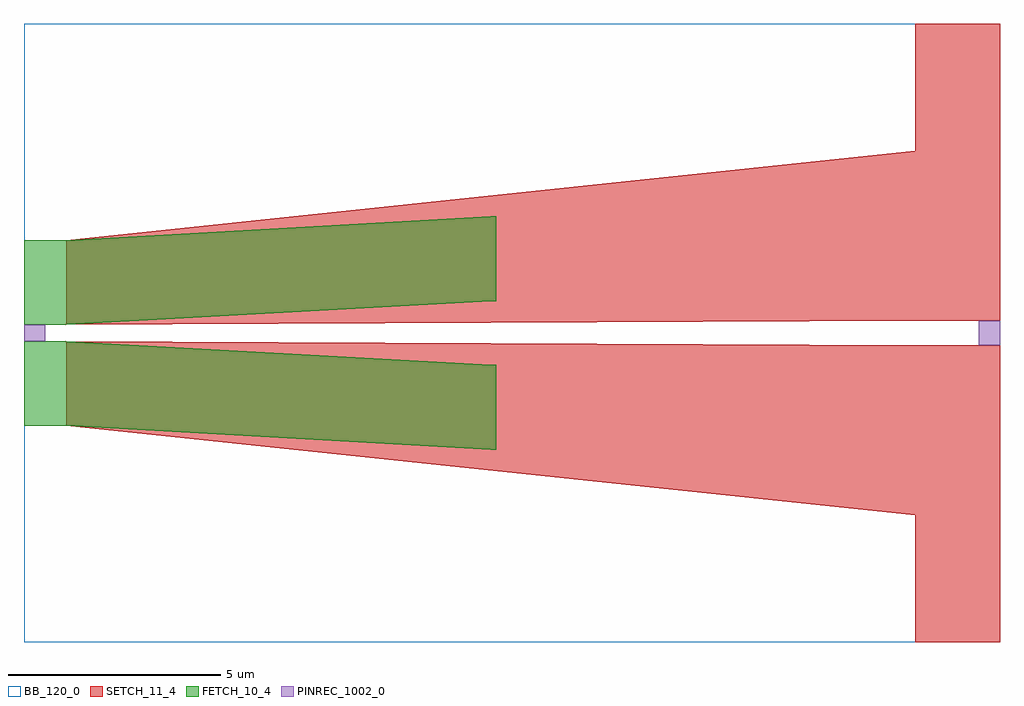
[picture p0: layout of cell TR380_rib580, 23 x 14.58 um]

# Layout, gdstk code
import gdstk
lib = gdstk.Library(unit=1e-6, precision=1e-09)
def R(c, l, rs):  # rectangles x0, y0, x1, y1
    for r in rs: c.add(gdstk.rectangle(r[:2], r[2:], *l))
def P(c, l, *ps):  # polygons
    for p in ps: c.add(gdstk.Polygon(p, *l))
FETCH_10_4 = (10, 4)
SETCH_11_4 = (11, 4)
BB_120_0 = (120, 0)
PINREC_1002_0 = (1002, 0)

tr380_rib580 = lib.new_cell('TR380_rib580')
R(tr380_rib580, FETCH_10_4, [(0,5.1,0.5,7.1), (0,7.48,0.5,9.48)])
P(tr380_rib580, FETCH_10_4, [(1,7.1),(11,6.54),(11.13,6.54),(11.13,4.54),(11,4.54),(1,5.1),(0.5,5.1),(0.5,7.1)],
  [(1,9.48),(11,10.04),(11.13,10.04),(11.13,8.04),(11,8.04),(1,7.48),(0.5,7.48),(0.5,9.48)])
R(tr380_rib580, SETCH_11_4, [(22.5,0,23,7), (22.5,7.58,23,14.58)])
P(tr380_rib580, SETCH_11_4, [(1,5.1),(21,3),(21,0),(22.5,0),(22.5,7),(21,7),(1,7.1)],
  [(1,7.48),(21,7.58),(22.5,7.58),(22.5,14.58),(21,14.58),(21,11.58),(1,9.48)])
R(tr380_rib580, BB_120_0, [(0,0,23,14.58)])
R(tr380_rib580, PINREC_1002_0, [(22.5,7,23,7.58), (0,7.1,0.5,7.48)])

lib.write_gds('TR380_rib580.gds')
